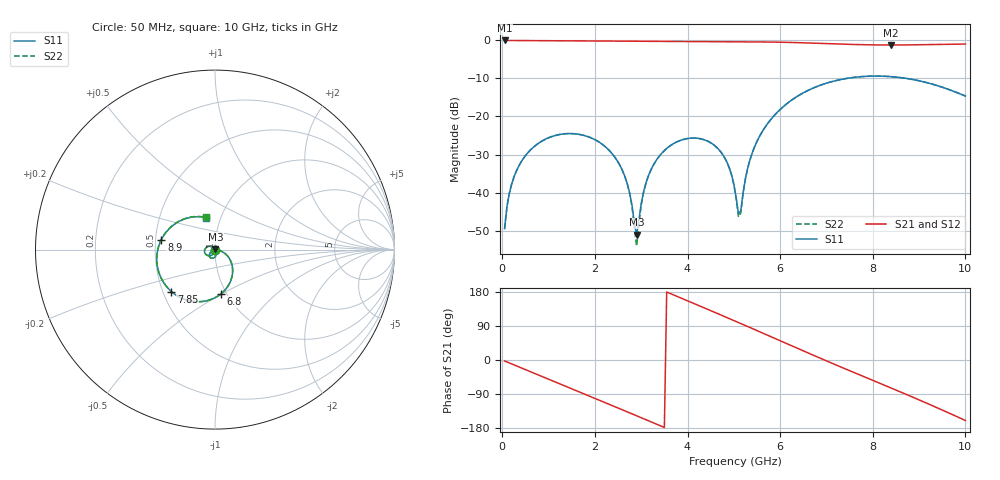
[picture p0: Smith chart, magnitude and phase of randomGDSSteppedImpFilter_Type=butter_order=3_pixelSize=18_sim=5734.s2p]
! freq	dB(S11)	phase(S11)	dB(S12)	phase(S12)
!  dB(S21)	phase(S21)	dB(S22)	phase(S22)
!S-par simulation data
#  GHz  S  DB  R 50
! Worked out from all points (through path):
!   200 points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, 50 MHz to 10 GHz, reference 50 ohm
!   highest |S21| = 0.00 dB at 50 MHz (marker M1); lowest = -1.2 dB at 8.4 GHz (marker M2)
!   group delay of S21, straight-line fit = 144 ps
!   lowest |S11| = -51.1 dB at 2.9 GHz (marker M3), VSWR 1.01, Z = 50.2 + j0.14 ohm
!   |S11| at or under -10 dB: start of sweep to 7.431 GHz; 8.733 GHz to end of sweep
!   |S22| runs from -54.1 to -9.4 dB; largest |S21 - S12| = 0
!   S11 on the Smith chart (normalised r, x): 50 MHz: 1.00, -0.01; 6.8 GHz: 0.94, -0.50; 7.85 GHz: 0.55, -0.29; 8.9 GHz: 0.54, +0.07; 10 GHz: 0.85, +0.31
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0.05  -49.50 -86.5  -0.00 -2.6  -0.00 -2.6  -49.50 -86.5
0.2  -37.87 -98.8  -0.02 -10.2  -0.02 -10.2  -37.87 -98.8
0.55  -29.56 -118.4  -0.04 -27.9  -0.04 -27.9  -29.56 -118.3
1.75  -24.94 179.2  -0.11 -88.6  -0.11 -88.6  -24.93 179.7
2.55  -33.07 134.1  -0.15 -129.2  -0.15 -129.2  -33.09 136.0
2.75  -40.10 115.0  -0.16 -139.5  -0.16 -139.5  -40.24 119.8
2.9  -51.07 30.0  -0.17 -147.2  -0.17 -147.2  -54.10 29.9
3.05  -39.84 -49.2  -0.19 -154.9  -0.19 -154.9  -40.04 -54.3
3.4  -30.28 -77.3  -0.22 -172.8  -0.22 -172.8  -30.30 -79.1
4.5  -26.91 -134.2  -0.30 130.3  -0.30 130.3  -26.92 -135.3
4.85  -31.98 -147.3  -0.32 112.1  -0.32 112.1  -32.02 -148.9
5.05  -41.31 -135.1  -0.33 101.5  -0.33 101.5  -41.59 -138.3
5.15  -44.76 -51.0  -0.34 96.3  -0.34 96.3  -45.38 -48.5
5.35  -31.31 -14.2  -0.35 85.6  -0.35 85.6  -31.33 -13.5
5.7  -22.36 -26.2  -0.40 67.0  -0.40 67.0  -22.36 -26.2
6.7  -12.59 -76.9  -0.70 13.5  -0.70 13.5  -12.59 -77.2
6.8  -12.09 -82.1  -0.74 8.2  -0.74 8.2  -12.09 -82.4
7.85  -9.44 -136.0  -1.14 -46.1  -1.14 -46.1  -9.44 -136.4
8.35  -9.48 -161.7  -1.20 -71.5  -1.20 -71.5  -9.48 -162.1
8.4  -9.53 -164.3  -1.20 -74.1  -1.20 -74.1  -9.53 -164.7
8.9  -10.36 169.3  -1.15 -100.0  -1.15 -100.0  -10.35 168.8
10  -14.63 106.2  -0.95 -159.6  -0.95 -159.6  -14.61 105.4
